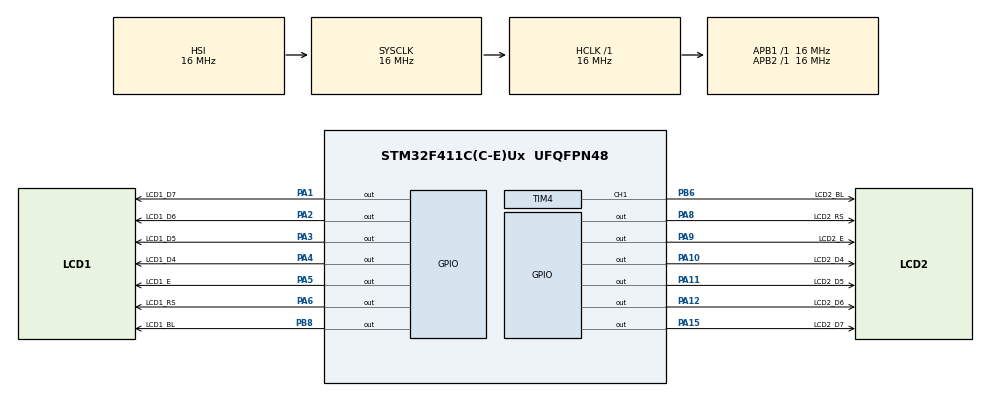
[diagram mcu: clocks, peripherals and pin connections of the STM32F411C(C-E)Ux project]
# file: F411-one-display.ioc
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Mcu.Family=STM32F4
Mcu.Name=STM32F411C(C-E)Ux
Mcu.Package=UFQFPN48
NVIC.PriorityGroup=NVIC_PRIORITYGROUP_4
NVIC.TIM5_IRQn=true\:0\:0\:false\:false\:true\:true\:true\:true
PA1.GPIO_Label=LCD1_D7
PA1.GPIO_ModeDefaultOutputPP=GPIO_MODE_OUTPUT_PP
PA1.GPIO_PuPd=GPIO_NOPULL
PA1.GPIO_Speed=GPIO_SPEED_FREQ_VERY_HIGH
PA1.PinState=GPIO_PIN_RESET
PA1.Signal=GPIO_Output
PA10.GPIO_Label=LCD2_D4
PA10.GPIO_ModeDefaultOutputPP=GPIO_MODE_OUTPUT_PP
PA10.GPIO_PuPd=GPIO_NOPULL
PA10.GPIO_Speed=GPIO_SPEED_FREQ_VERY_HIGH
PA10.PinState=GPIO_PIN_RESET
PA10.Signal=GPIO_Output
PA11.GPIO_Label=LCD2_D5
PA11.GPIO_ModeDefaultOutputPP=GPIO_MODE_OUTPUT_PP
PA11.GPIO_PuPd=GPIO_NOPULL
PA11.GPIO_Speed=GPIO_SPEED_FREQ_VERY_HIGH
PA11.PinState=GPIO_PIN_RESET
PA11.Signal=GPIO_Output
PA12.GPIO_Label=LCD2_D6
PA12.GPIO_Speed=GPIO_SPEED_FREQ_VERY_HIGH
PA12.PinState=GPIO_PIN_RESET
PA12.Signal=GPIO_Output
PA13.Mode=Serial_Wire
PA13.Signal=SYS_JTMS-SWDIO
PA14.Mode=Serial_Wire
PA14.Signal=SYS_JTCK-SWCLK
PA15.GPIO_Label=LCD2_D7
PA15.GPIO_Speed=GPIO_SPEED_FREQ_VERY_HIGH
PA15.PinState=GPIO_PIN_RESET
PA15.Signal=GPIO_Output
PA2.GPIO_Label=LCD1_D6
PA2.GPIO_ModeDefaultOutputPP=GPIO_MODE_OUTPUT_PP
PA2.GPIO_PuPd=GPIO_NOPULL
PA2.GPIO_Speed=GPIO_SPEED_FREQ_VERY_HIGH
PA2.PinState=GPIO_PIN_RESET
PA2.Signal=GPIO_Output
PA3.GPIO_Label=LCD1_D5
PA3.GPIO_ModeDefaultOutputPP=GPIO_MODE_OUTPUT_PP
PA3.GPIO_PuPd=GPIO_NOPULL
PA3.GPIO_Speed=GPIO_SPEED_FREQ_VERY_HIGH
PA3.PinState=GPIO_PIN_RESET
PA3.Signal=GPIO_Output
PA4.GPIO_Label=LCD1_D4
PA4.GPIO_ModeDefaultOutputPP=GPIO_MODE_OUTPUT_PP
PA4.GPIO_PuPd=GPIO_NOPULL
PA4.GPIO_Speed=GPIO_SPEED_FREQ_VERY_HIGH
PA4.PinState=GPIO_PIN_RESET
PA4.Signal=GPIO_Output
PA5.GPIO_Label=LCD1_E
PA5.GPIO_ModeDefaultOutputPP=GPIO_MODE_OUTPUT_PP
PA5.GPIO_PuPd=GPIO_NOPULL
PA5.GPIO_Speed=GPIO_SPEED_FREQ_VERY_HIGH
PA5.PinState=GPIO_PIN_RESET
PA5.Signal=GPIO_Output
PA6.GPIO_Label=LCD1_RS
PA6.GPIO_ModeDefaultOutputPP=GPIO_MODE_OUTPUT_PP
PA6.GPIO_PuPd=GPIO_NOPULL
PA6.GPIO_Speed=GPIO_SPEED_FREQ_VERY_HIGH
PA6.PinState=GPIO_PIN_RESET
PA6.Signal=GPIO_Output
PA8.GPIO_Label=LCD2_RS
PA8.GPIO_ModeDefaultOutputPP=GPIO_MODE_OUTPUT_PP
PA8.GPIO_PuPd=GPIO_NOPULL
PA8.GPIO_Speed=GPIO_SPEED_FREQ_VERY_HIGH
PA8.PinState=GPIO_PIN_RESET
PA8.Signal=GPIO_Output
PA9.GPIO_Label=LCD2_E
PA9.GPIO_ModeDefaultOutputPP=GPIO_MODE_OUTPUT_PP
PA9.GPIO_PuPd=GPIO_NOPULL
PA9.GPIO_Speed=GPIO_SPEED_FREQ_VERY_HIGH
PA9.PinState=GPIO_PIN_RESET
PA9.Signal=GPIO_Output
PB6.GPIO_Label=LCD2_BL
PB6.Signal=S_TIM4_CH1
PB8.GPIO_Label=LCD1_BL
PB8.GPIO_Speed=GPIO_SPEED_FREQ_VERY_HIGH
PB8.PinState=GPIO_PIN_RESET
PB8.Signal=GPIO_Output
PH0\ -\ OSC_IN.Mode=HSE-External-Oscillator
PH0\ -\ OSC_IN.Signal=RCC_OSC_IN
PH1\ -\ OSC_OUT.Mode=HSE-External-Oscillator
PH1\ -\ OSC_OUT.Signal=RCC_OSC_OUT
ProjectManager.HeapSize=0x200
ProjectManager.StackSize=0x400
ProjectManager.TargetToolchain=STM32CubeIDE
RCC.AHBFreq_Value=16000000
RCC.APB1Freq_Value=16000000
RCC.APB1TimFreq_Value=16000000
RCC.APB2Freq_Value=16000000
RCC.APB2TimFreq_Value=16000000
RCC.CortexFreq_Value=16000000
RCC.HCLKFreq_Value=16000000
RCC.HSE_VALUE=25000000
RCC.HSI_VALUE=16000000
RCC.LSE_VALUE=32768
RCC.SYSCLKFreq_VALUE=16000000
RCC.VCOOutputFreq_Value=192000000
SH.S_TIM4_CH1.0=TIM4_CH1,PWM Generation1 CH1
TIM4.Channel-PWM\ Generation1\ CH1=TIM_CHANNEL_1
TIM4.Period=999
TIM4.Prescaler=1
TIM5.Period=9999
TIM5.Prescaler=15
VP_TIM4_VS_ClockSourceINT.Mode=Internal
VP_TIM5_VS_ClockSourceINT.Mode=Internal
board=custom

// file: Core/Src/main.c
/* USER CODE BEGIN Header */
/**
  ******************************************************************************
  * @file           : main.c
  * @brief          : Main program body
  ******************************************************************************
  * @attention
  *
  * Copyright (c) 2023 STMicroelectronics.
  * All rights reserved.
  *
  * This software is licensed under terms that can be found in the LICENSE file
  * in the root directory of this software component.
  * If no LICENSE file comes with this software, it is provided AS-IS.
  *
  ******************************************************************************
  */
/* USER CODE END Header */
#include "main.h"

/* USER CODE BEGIN Includes */
#include <stdio.h>
#include "lcdDisplay.h"
/* USER CODE END Includes */

/* USER CODE BEGIN PM */
#define LCD1		0
#define LCD2		1
/* USER CODE END PM */

TIM_HandleTypeDef htim4;
TIM_HandleTypeDef htim5;

/* USER CODE BEGIN PV */
lcd_t Lcd[2] = {0};
uint8_t Lcd2Bright = 0;
/* USER CODE END PV */

void SystemClock_Config(void);
static void MX_GPIO_Init(void);
static void MX_TIM4_Init(void);
static void MX_TIM5_Init(void);

/* USER CODE BEGIN 0 */
void _lcd1_config(){
	// Small 16x2 LCD, wired for 4bit communication
	Lcd[LCD1].columns = 16;
	Lcd[LCD1].rows = 2;
	Lcd[LCD1].interface = LCD_INTERFACE_4BIT;
	Lcd[LCD1].font = LCD_FONT_5X8;
	// GPIOs of the Display
	Lcd[LCD1].gpios[LCD_RS].GPIO = 	(uint32_t)LCD1_RS_GPIO_Port;
	Lcd[LCD1].gpios[LCD_RS].pin = 	LCD1_RS_Pin;
	Lcd[LCD1].gpios[LCD_E].GPIO = 	(uint32_t)LCD1_E_GPIO_Port;
	Lcd[LCD1].gpios[LCD_E].pin = 	LCD1_E_Pin;
	Lcd[LCD1].gpios[LCD_D4].GPIO = 	(uint32_t)LCD1_D4_GPIO_Port;
	Lcd[LCD1].gpios[LCD_D4].pin = 	LCD1_D4_Pin;
	Lcd[LCD1].gpios[LCD_D5].GPIO =	(uint32_t)LCD1_D5_GPIO_Port;
	Lcd[LCD1].gpios[LCD_D5].pin = 	LCD1_D5_Pin;
	Lcd[LCD1].gpios[LCD_D6].GPIO = 	(uint32_t)LCD1_D6_GPIO_Port;
	Lcd[LCD1].gpios[LCD_D6].pin = 	LCD1_D6_Pin;
	Lcd[LCD1].gpios[LCD_D7].GPIO = 	(uint32_t)LCD1_D7_GPIO_Port;
	Lcd[LCD1].gpios[LCD_D7].pin = 	LCD1_D7_Pin;

	// Gpio for drive the LCD backlight
	Lcd[LCD1].backlightGpio.GPIO = (uint32_t)LCD1_BL_GPIO_Port;
	Lcd[LCD1].backlightGpio.pin = LCD1_BL_Pin;

	// Initialize the display and turnon the Backlight
	lcd_init(&Lcd[LCD1]);
	lcd_backlight_set(&Lcd[LCD1], LCD_BACKLIGHT_ON);
}

void _lcd2_config(){
	// Small 16x2 LCD, wired for 4bit communication
	Lcd[LCD2].columns = 16;
	Lcd[LCD2].rows = 2;
	Lcd[LCD2].interface = LCD_INTERFACE_4BIT;
	Lcd[LCD2].font = LCD_FONT_5X8;
	// GPIOs of the Display
	Lcd[LCD2].gpios[LCD_RS].GPIO = 	(uint32_t)LCD2_RS_GPIO_Port;
	Lcd[LCD2].gpios[LCD_RS].pin = 	LCD2_RS_Pin;
	Lcd[LCD2].gpios[LCD_E].GPIO = 	(uint32_t)LCD2_E_GPIO_Port;
	Lcd[LCD2].gpios[LCD_E].pin = 	LCD2_E_Pin;
	Lcd[LCD2].gpios[LCD_D4].GPIO = 	(uint32_t)LCD2_D4_GPIO_Port;
	Lcd[LCD2].gpios[LCD_D4].pin = 	LCD2_D4_Pin;
	Lcd[LCD2].gpios[LCD_D5].GPIO =	(uint32_t)LCD2_D5_GPIO_Port;
	Lcd[LCD2].gpios[LCD_D5].pin = 	LCD2_D5_Pin;
	Lcd[LCD2].gpios[LCD_D6].GPIO = 	(uint32_t)LCD2_D6_GPIO_Port;
	Lcd[LCD2].gpios[LCD_D6].pin = 	LCD2_D6_Pin;
	Lcd[LCD2].gpios[LCD_D7].GPIO = 	(uint32_t)LCD2_D7_GPIO_Port;
	Lcd[LCD2].gpios[LCD_D7].pin = 	LCD2_D7_Pin;

	// Timer handler and channel for PWM operation
	Lcd[LCD2].backlightPwm.Channel = TIM_CHANNEL_1;
	Lcd[LCD2].backlightPwm.Peripheral = (uint32_t)&htim4;

	// Initialize display and turnon the Cursor
	lcd_init(&Lcd[LCD2]);
	lcd_cursor_on(&Lcd[LCD2]);

	// Turnon Timer 5 to fade-in the LCD
	HAL_TIM_Base_Start_IT(&htim5);
}

void _lcd_custom_char(){
	uint8_t arrow1[8] = { 0x00, 0x04, 0x06, 0x1F, 0x1F, 0x06, 0x04, 0x00 };
	uint8_t arrow2[8] = { 0x00, 0x04, 0x0C, 0x1F, 0x1F, 0x0C, 0x04, 0x00 };

	lcd_create_custom_char(&Lcd[LCD1], LCD_CUSTOM_1, arrow1);
	lcd_create_custom_char(&Lcd[LCD1], LCD_CUSTOM_2, arrow2);

	lcd_create_custom_char(&Lcd[LCD2], LCD_CUSTOM_1, arrow1);
	lcd_create_custom_char(&Lcd[LCD2], LCD_CUSTOM_2, arrow2);
}

void _lcd1_lineStart(){
	lcd_put_pos(&Lcd[LCD1], 0, 0);
	lcd_send_char(&Lcd[LCD1], LCD_CUSTOM_1);
	lcd_send_string(&Lcd[LCD1], " This is LCD1 ");
	lcd_send_char(&Lcd[LCD1], LCD_CUSTOM_2);
}

void _lcd2_lineStart(){
	lcd_put_pos(&Lcd[LCD2], 0, 0);
	lcd_send_char(&Lcd[LCD2], LCD_CUSTOM_1);
	lcd_send_string(&Lcd[LCD2], " This is LCD2 ");
	lcd_send_char(&Lcd[LCD2], LCD_CUSTOM_2);
}

/* Callbacks */

void HAL_TIM_PeriodElapsedCallback(TIM_HandleTypeDef *htim){
	if (htim->Instance == TIM5){
		if (Lcd2Bright < 100){
			Lcd2Bright++;
			lcd_backlight_set_bright(&Lcd[LCD2], Lcd2Bright);
			if (Lcd2Bright == 100){
				HAL_TIM_Base_Stop_IT(&htim5);
			}
		}
	}
}

/* USER CODE END 0 */

int main(void)
{
  /* USER CODE BEGIN 1 */
	char _auxStr[21];
	int _cnt;

  /* USER CODE END 1 */

  /* MCU Configuration--------------------------------------------------------*/

  /* Reset of all peripherals, Initializes the Flash interface and the Systick. */
  HAL_Init();

  /* Configure the system clock */
  SystemClock_Config();

  /* Initialize all configured peripherals */
  MX_GPIO_Init();
  MX_TIM4_Init();
  MX_TIM5_Init();
  /* USER CODE BEGIN 2 */
  HAL_Delay(150);

  /* Start and configure the Lcd[LCD1] and Lcd[LCD2] */
  _lcd1_config();
  _lcd2_config();
  /* Configures the custom char on the two Lcds */
  _lcd_custom_char();

  /* Start the Text on First line of the LCDs */
  _lcd1_lineStart();
  _lcd2_lineStart();
  /* USER CODE END 2 */

  /* Infinite loop */
  /* USER CODE BEGIN WHILE */
  _cnt = 0;
  while (1)
  {
	  /* Text for LCD1 */
	  sprintf(_auxStr, "C: 0x%04X", _cnt);
	  lcd_send_string_pos(&Lcd[LCD1], _auxStr, 1, 0);

	  /* Text for LCD2 */
	  sprintf(_auxStr, "C: 0x%04X", 0xFFFF-_cnt);
	  lcd_send_string_pos(&Lcd[LCD2], _auxStr, 1, 0);

	  /* Increase counter and wait for 500ms */
	  _cnt++;
	  HAL_Delay(500);
    /* USER CODE END WHILE */

  }
}

void SystemClock_Config(void)
{
  RCC_OscInitTypeDef RCC_OscInitStruct = {0};
  RCC_ClkInitTypeDef RCC_ClkInitStruct = {0};

  /** Configure the main internal regulator output voltage
  */
  __HAL_RCC_PWR_CLK_ENABLE();
  __HAL_PWR_VOLTAGESCALING_CONFIG(PWR_REGULATOR_VOLTAGE_SCALE1);

  /** Initializes the RCC Oscillators according to the specified parameters
  * in the RCC_OscInitTypeDef structure.
  */
  RCC_OscInitStruct.OscillatorType = RCC_OSCILLATORTYPE_HSI;
  RCC_OscInitStruct.HSIState = RCC_HSI_ON;
  RCC_OscInitStruct.HSICalibrationValue = RCC_HSICALIBRATION_DEFAULT;
  RCC_OscInitStruct.PLL.PLLState = RCC_PLL_NONE;
  if (HAL_RCC_OscConfig(&RCC_OscInitStruct) != HAL_OK)
  {
    Error_Handler();
  }

  /** Initializes the CPU, AHB and APB buses clocks
  */
  RCC_ClkInitStruct.ClockType = RCC_CLOCKTYPE_HCLK|RCC_CLOCKTYPE_SYSCLK
                              |RCC_CLOCKTYPE_PCLK1|RCC_CLOCKTYPE_PCLK2;
  RCC_ClkInitStruct.SYSCLKSource = RCC_SYSCLKSOURCE_HSI;
  RCC_ClkInitStruct.AHBCLKDivider = RCC_SYSCLK_DIV1;
  RCC_ClkInitStruct.APB1CLKDivider = RCC_HCLK_DIV1;
  RCC_ClkInitStruct.APB2CLKDivider = RCC_HCLK_DIV1;

  if (HAL_RCC_ClockConfig(&RCC_ClkInitStruct, FLASH_LATENCY_0) != HAL_OK)
  {
    Error_Handler();
  }
}

static void MX_TIM4_Init(void)
{

  TIM_ClockConfigTypeDef sClockSourceConfig = {0};
  TIM_MasterConfigTypeDef sMasterConfig = {0};
  TIM_OC_InitTypeDef sConfigOC = {0};

  htim4.Instance = TIM4;
  htim4.Init.Prescaler = 1;
  htim4.Init.CounterMode = TIM_COUNTERMODE_UP;
  htim4.Init.Period = 999;
  htim4.Init.ClockDivision = TIM_CLOCKDIVISION_DIV1;
  htim4.Init.AutoReloadPreload = TIM_AUTORELOAD_PRELOAD_DISABLE;
  if (HAL_TIM_Base_Init(&htim4) != HAL_OK)
  {
    Error_Handler();
  }
  sClockSourceConfig.ClockSource = TIM_CLOCKSOURCE_INTERNAL;
  if (HAL_TIM_ConfigClockSource(&htim4, &sClockSourceConfig) != HAL_OK)
  {
    Error_Handler();
  }
  if (HAL_TIM_PWM_Init(&htim4) != HAL_OK)
  {
    Error_Handler();
  }
  sMasterConfig.MasterOutputTrigger = TIM_TRGO_RESET;
  sMasterConfig.MasterSlaveMode = TIM_MASTERSLAVEMODE_DISABLE;
  if (HAL_TIMEx_MasterConfigSynchronization(&htim4, &sMasterConfig) != HAL_OK)
  {
    Error_Handler();
  }
  sConfigOC.OCMode = TIM_OCMODE_PWM1;
  sConfigOC.Pulse = 0;
  sConfigOC.OCPolarity = TIM_OCPOLARITY_HIGH;
  sConfigOC.OCFastMode = TIM_OCFAST_DISABLE;
  if (HAL_TIM_PWM_ConfigChannel(&htim4, &sConfigOC, TIM_CHANNEL_1) != HAL_OK)
  {
    Error_Handler();
  }
  HAL_TIM_MspPostInit(&htim4);

}

static void MX_TIM5_Init(void)
{

  TIM_ClockConfigTypeDef sClockSourceConfig = {0};
  TIM_MasterConfigTypeDef sMasterConfig = {0};

  htim5.Instance = TIM5;
  htim5.Init.Prescaler = 15;
  htim5.Init.CounterMode = TIM_COUNTERMODE_UP;
  htim5.Init.Period = 9999;
  htim5.Init.ClockDivision = TIM_CLOCKDIVISION_DIV1;
  htim5.Init.AutoReloadPreload = TIM_AUTORELOAD_PRELOAD_DISABLE;
  if (HAL_TIM_Base_Init(&htim5) != HAL_OK)
  {
    Error_Handler();
  }
  sClockSourceConfig.ClockSource = TIM_CLOCKSOURCE_INTERNAL;
  if (HAL_TIM_ConfigClockSource(&htim5, &sClockSourceConfig) != HAL_OK)
  {
    Error_Handler();
  }
  sMasterConfig.MasterOutputTrigger = TIM_TRGO_RESET;
  sMasterConfig.MasterSlaveMode = TIM_MASTERSLAVEMODE_DISABLE;
  if (HAL_TIMEx_MasterConfigSynchronization(&htim5, &sMasterConfig) != HAL_OK)
  {
    Error_Handler();
  }

}

static void MX_GPIO_Init(void)
{
  GPIO_InitTypeDef GPIO_InitStruct = {0};

  /* GPIO Ports Clock Enable */
  __HAL_RCC_GPIOH_CLK_ENABLE();
  __HAL_RCC_GPIOA_CLK_ENABLE();
  __HAL_RCC_GPIOB_CLK_ENABLE();

  /*Configure GPIO pin Output Level */
  HAL_GPIO_WritePin(GPIOA, LCD1_D7_Pin|LCD1_D6_Pin|LCD1_D5_Pin|LCD1_D4_Pin
                          |LCD1_E_Pin|LCD1_RS_Pin|LCD2_RS_Pin|LCD2_E_Pin
                          |LCD2_D4_Pin|LCD2_D5_Pin|LCD2_D6_Pin|LCD2_D7_Pin, GPIO_PIN_RESET);

  /*Configure GPIO pin Output Level */
  HAL_GPIO_WritePin(LCD1_BL_GPIO_Port, LCD1_BL_Pin, GPIO_PIN_RESET);

  /*Configure GPIO pins : LCD1_D7_Pin LCD1_D6_Pin LCD1_D5_Pin LCD1_D4_Pin
                           LCD1_E_Pin LCD1_RS_Pin LCD2_RS_Pin LCD2_E_Pin
                           LCD2_D4_Pin LCD2_D5_Pin LCD2_D6_Pin LCD2_D7_Pin */
  GPIO_InitStruct.Pin = LCD1_D7_Pin|LCD1_D6_Pin|LCD1_D5_Pin|LCD1_D4_Pin
                          |LCD1_E_Pin|LCD1_RS_Pin|LCD2_RS_Pin|LCD2_E_Pin
                          |LCD2_D4_Pin|LCD2_D5_Pin|LCD2_D6_Pin|LCD2_D7_Pin;
  GPIO_InitStruct.Mode = GPIO_MODE_OUTPUT_PP;
  GPIO_InitStruct.Pull = GPIO_NOPULL;
  GPIO_InitStruct.Speed = GPIO_SPEED_FREQ_VERY_HIGH;
  HAL_GPIO_Init(GPIOA, &GPIO_InitStruct);

  /*Configure GPIO pin : LCD1_BL_Pin */
  GPIO_InitStruct.Pin = LCD1_BL_Pin;
  GPIO_InitStruct.Mode = GPIO_MODE_OUTPUT_PP;
  GPIO_InitStruct.Pull = GPIO_NOPULL;
  GPIO_InitStruct.Speed = GPIO_SPEED_FREQ_VERY_HIGH;
  HAL_GPIO_Init(LCD1_BL_GPIO_Port, &GPIO_InitStruct);

}

void Error_Handler(void)
{
  __disable_irq();
  while (1)
  {
  }
}
